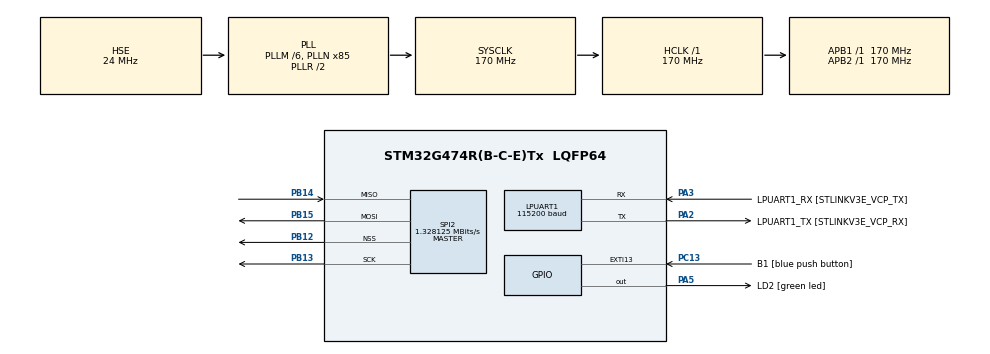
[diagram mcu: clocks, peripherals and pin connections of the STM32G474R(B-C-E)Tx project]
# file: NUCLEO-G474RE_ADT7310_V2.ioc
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Dma.Request0=SPI2_TX
Dma.Request1=SPI2_RX
Dma.SPI2_RX.1.Direction=DMA_PERIPH_TO_MEMORY
Dma.SPI2_RX.1.EventEnable=DISABLE
Dma.SPI2_RX.1.Instance=DMA1_Channel2
Dma.SPI2_RX.1.MemDataAlignment=DMA_MDATAALIGN_BYTE
Dma.SPI2_RX.1.MemInc=DMA_MINC_ENABLE
Dma.SPI2_RX.1.Mode=DMA_NORMAL
Dma.SPI2_RX.1.PeriphDataAlignment=DMA_PDATAALIGN_BYTE
Dma.SPI2_RX.1.PeriphInc=DMA_PINC_DISABLE
Dma.SPI2_RX.1.Polarity=HAL_DMAMUX_REQ_GEN_RISING
Dma.SPI2_RX.1.Priority=DMA_PRIORITY_LOW
Dma.SPI2_RX.1.RequestNumber=1
Dma.SPI2_RX.1.SignalID=NONE
Dma.SPI2_RX.1.SyncEnable=DISABLE
Dma.SPI2_RX.1.SyncPolarity=HAL_DMAMUX_SYNC_NO_EVENT
Dma.SPI2_RX.1.SyncRequestNumber=1
Dma.SPI2_RX.1.SyncSignalID=NONE
Dma.SPI2_TX.0.Direction=DMA_MEMORY_TO_PERIPH
Dma.SPI2_TX.0.EventEnable=DISABLE
Dma.SPI2_TX.0.Instance=DMA1_Channel1
Dma.SPI2_TX.0.MemDataAlignment=DMA_MDATAALIGN_BYTE
Dma.SPI2_TX.0.MemInc=DMA_MINC_ENABLE
Dma.SPI2_TX.0.Mode=DMA_NORMAL
Dma.SPI2_TX.0.PeriphDataAlignment=DMA_PDATAALIGN_BYTE
Dma.SPI2_TX.0.PeriphInc=DMA_PINC_DISABLE
Dma.SPI2_TX.0.Polarity=HAL_DMAMUX_REQ_GEN_RISING
Dma.SPI2_TX.0.Priority=DMA_PRIORITY_LOW
Dma.SPI2_TX.0.RequestNumber=1
Dma.SPI2_TX.0.SignalID=NONE
Dma.SPI2_TX.0.SyncEnable=DISABLE
Dma.SPI2_TX.0.SyncPolarity=HAL_DMAMUX_SYNC_NO_EVENT
Dma.SPI2_TX.0.SyncRequestNumber=1
Dma.SPI2_TX.0.SyncSignalID=NONE
LPUART1.BaudRate=115200
LPUART1.WordLength=UART_WORDLENGTH_8B
Mcu.Family=STM32G4
Mcu.Name=STM32G474R(B-C-E)Tx
Mcu.Package=LQFP64
NVIC.DMA1_Channel1_IRQn=true\:0\:0\:false\:false\:true\:false\:true\:true
NVIC.DMA1_Channel2_IRQn=true\:0\:0\:false\:false\:true\:false\:true\:true
NVIC.EXTI15_10_IRQn=true\:0\:0\:false\:false\:true\:true\:true\:true
NVIC.PriorityGroup=NVIC_PRIORITYGROUP_4
PA13.GPIO_Label=T_SWDIO
PA13.Mode=Trace_Asynchronous_SW
PA13.Signal=SYS_JTMS-SWDIO
PA14.GPIO_Label=T_SWCLK
PA14.Mode=Trace_Asynchronous_SW
PA14.Signal=SYS_JTCK-SWCLK
PA2.GPIO_Label=LPUART1_TX [STLINKV3E_VCP_RX]
PA2.Mode=Asynchronous
PA2.Signal=LPUART1_TX
PA3.GPIO_Label=LPUART1_RX [STLINKV3E_VCP_TX]
PA3.Mode=Asynchronous
PA3.Signal=LPUART1_RX
PA5.GPIO_Label=LD2 [green led]
PA5.Signal=GPIO_Output
PB12.Mode=NSS_Signal_Hard_Output
PB12.Signal=SPI2_NSS
PB13.GPIO_PuPd=GPIO_NOPULL
PB13.GPIO_Speed=GPIO_SPEED_FREQ_LOW
PB13.Mode=Full_Duplex_Master
PB13.Signal=SPI2_SCK
PB14.GPIO_Speed=GPIO_SPEED_FREQ_LOW
PB14.Mode=Full_Duplex_Master
PB14.Signal=SPI2_MISO
PB15.GPIO_Speed=GPIO_SPEED_FREQ_LOW
PB15.Mode=Full_Duplex_Master
PB15.Signal=SPI2_MOSI
PB3.GPIO_Label=T_SWO
PB3.Mode=Trace_Asynchronous_SW
PB3.Signal=SYS_JTDO-SWO
PC13.GPIO_Label=B1 [blue push button]
PC13.Signal=GPXTI13
PC14-OSC32_IN.Mode=LSE-External-Oscillator
PC14-OSC32_IN.Signal=RCC_OSC32_IN
PC15-OSC32_OUT.Mode=LSE-External-Oscillator
PC15-OSC32_OUT.Signal=RCC_OSC32_OUT
PF0-OSC_IN.Mode=HSE-External-Oscillator
PF0-OSC_IN.Signal=RCC_OSC_IN
PF1-OSC_OUT.Mode=HSE-External-Oscillator
PF1-OSC_OUT.Signal=RCC_OSC_OUT
ProjectManager.HeapSize=0x200
ProjectManager.StackSize=0x400
ProjectManager.TargetToolchain=STM32CubeIDE
RCC.ADC12Freq_Value=170000000
RCC.ADC345Freq_Value=170000000
RCC.AHBFreq_Value=170000000
RCC.APB1Freq_Value=170000000
RCC.APB1TimFreq_Value=170000000
RCC.APB2Freq_Value=170000000
RCC.APB2TimFreq_Value=170000000
RCC.CortexFreq_Value=170000000
RCC.EXTERNAL_CLOCK_VALUE=12288000
RCC.HCLKFreq_Value=170000000
RCC.HSE_VALUE=24000000
RCC.HSI48_VALUE=48000000
RCC.HSI_VALUE=16000000
RCC.PLLM=RCC_PLLM_DIV6
RCC.PLLN=85
RCC.PLLSourceVirtual=RCC_PLLSOURCE_HSE
RCC.RTCClockSelection=RCC_RTCCLKSOURCE_LSE
RCC.SYSCLKFreq_VALUE=170000000
RCC.SYSCLKSource=RCC_SYSCLKSOURCE_PLLCLK
RCC.USBFreq_Value=170000000
RCC.VCOOutputFreq_Value=340000000
SPI2.BaudRatePrescaler=SPI_BAUDRATEPRESCALER_128
SPI2.CLKPhase=SPI_PHASE_2EDGE
SPI2.CLKPolarity=SPI_POLARITY_HIGH
SPI2.CalculateBaudRate=1.328125 MBits/s
SPI2.DataSize=SPI_DATASIZE_8BIT
SPI2.Direction=SPI_DIRECTION_2LINES
SPI2.Mode=SPI_MODE_MASTER
SPI2.TIMode=SPI_TIMODE_DISABLE
SPI2.VirtualNSS=VM_NSSHARD
SPI2.VirtualType=VM_MASTER
VP_SYS_VS_DBSignals.Mode=DisableDeadBatterySignals
board=NUCLEO-G474RE

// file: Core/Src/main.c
/* USER CODE BEGIN Header */
/**
 ******************************************************************************
 * @file           : main.c
 * @brief          : Main program body
 ******************************************************************************
 * @attention
 *
 * Copyright (c) 2024 STMicroelectronics.
 * All rights reserved.
 *
 * This software is licensed under terms that can be found in the LICENSE file
 * in the root directory of this software component.
 * If no LICENSE file comes with this software, it is provided AS-IS.
 *
 ******************************************************************************
 */
/* USER CODE END Header */
#include "main.h"

/* USER CODE BEGIN Includes */

#include "VT_ADT7310.h"
#include <stdio.h>

/* USER CODE END Includes */

UART_HandleTypeDef hlpuart1;

SPI_HandleTypeDef hspi2;
DMA_HandleTypeDef hdma_spi2_tx;
DMA_HandleTypeDef hdma_spi2_rx;

/* USER CODE BEGIN PV */

uint8_t SPI_TXRX_stat = 0;

/* USER CODE END PV */

void SystemClock_Config(void);
static void MX_GPIO_Init(void);
static void MX_DMA_Init(void);
static void MX_LPUART1_UART_Init(void);
static void MX_SPI2_Init(void);
/* USER CODE BEGIN PFP */

void VT_Reset_ADT7310(void);
void VT_Print_Read_ADT7310_address(uint8_t ADT7310_address);
void VT_Print_Read_ADT7310_TempVal_16bit(void);
void VT_Print_Read_ADT7310_TempVal_8bit(void);
void VT_Print_Write_ADT7310(uint8_t ADT7310_address, uint16_t data);
int VT_Read_ADT7310_address(uint8_t ADT7310_address);
uint16_t Conv_temp_Float_to_Bin(float temperature);
void VT_ADT7310_address_Error(void);

/* USER CODE END PFP */

int main(void)
{

  /* MCU Configuration--------------------------------------------------------*/

  /* Reset of all peripherals, Initializes the Flash interface and the Systick. */
  HAL_Init();

  /* Configure the system clock */
  SystemClock_Config();

  /* Initialize all configured peripherals */
  MX_GPIO_Init();
  MX_DMA_Init();
  MX_LPUART1_UART_Init();
  MX_SPI2_Init();
  /* USER CODE BEGIN 2 */

	printf("====================================\n");
	printf("Starting >> NUCLEO-G474RE_ADT7310_V2 \n");

	VT_Reset_ADT7310();

	VT_Print_Read_ADT7310_address(Status);

	VT_Print_Read_ADT7310_address(Config);

	VT_Print_Read_ADT7310_address(Temp_val);

	VT_Print_Read_ADT7310_address(ID);

	VT_Print_Read_ADT7310_address(TCRIT_setpt);

	VT_Print_Read_ADT7310_address(THYST_setpt);

	VT_Print_Read_ADT7310_address(THIGH_setpt);

	VT_Print_Read_ADT7310_address(TLOW_setpt);

	for(uint8_t cntr = 0; cntr < 3; cntr++)
	{
		HAL_Delay(500);
		VT_Print_Read_ADT7310_address(Temp_val);
	}

	for(uint8_t cntr = 0; cntr < 3; cntr++)
	{
		HAL_Delay(500);
		VT_Print_Read_ADT7310_TempVal_8bit();
	}

	printf("Converting to 16bit Temperature data... \n");
	VT_Print_Write_ADT7310(Config, ADT7310_16bit);

	printf("Read config register if written correctly.. \n");
	VT_Print_Read_ADT7310_address(Config);

	for(uint8_t cntr = 0; cntr < 3; cntr++)
	{
		HAL_Delay(500);
		VT_Print_Read_ADT7310_TempVal_16bit();
	}

	printf("Setting THIGH_setpt to 65degC... \n");
	VT_Print_Write_ADT7310(THIGH_setpt, Conv_temp_Float_to_Bin(65.0));

	printf("Read THIGH_setpt register if written correctly.. \n");
	VT_Print_Read_ADT7310_address(THIGH_setpt);

	printf("Ending   >> NUCLEO-G474RE_ADT7310_V2 \n");
	printf("====================================\n\n");

  /* USER CODE END 2 */

  /* Infinite loop */
  /* USER CODE BEGIN WHILE */
	while (1)
	{
		HAL_GPIO_TogglePin(GPIOA, GPIO_PIN_5);
		HAL_Delay(50);
    /* USER CODE END WHILE */

	}
}

void SystemClock_Config(void)
{
  RCC_OscInitTypeDef RCC_OscInitStruct = {0};
  RCC_ClkInitTypeDef RCC_ClkInitStruct = {0};

  /** Configure the main internal regulator output voltage
  */
  HAL_PWREx_ControlVoltageScaling(PWR_REGULATOR_VOLTAGE_SCALE1_BOOST);

  /** Initializes the RCC Oscillators according to the specified parameters
  * in the RCC_OscInitTypeDef structure.
  */
  RCC_OscInitStruct.OscillatorType = RCC_OSCILLATORTYPE_HSE;
  RCC_OscInitStruct.HSEState = RCC_HSE_ON;
  RCC_OscInitStruct.PLL.PLLState = RCC_PLL_ON;
  RCC_OscInitStruct.PLL.PLLSource = RCC_PLLSOURCE_HSE;
  RCC_OscInitStruct.PLL.PLLM = RCC_PLLM_DIV6;
  RCC_OscInitStruct.PLL.PLLN = 85;
  RCC_OscInitStruct.PLL.PLLP = RCC_PLLP_DIV2;
  RCC_OscInitStruct.PLL.PLLQ = RCC_PLLQ_DIV2;
  RCC_OscInitStruct.PLL.PLLR = RCC_PLLR_DIV2;
  if (HAL_RCC_OscConfig(&RCC_OscInitStruct) != HAL_OK)
  {
    Error_Handler();
  }

  /** Initializes the CPU, AHB and APB buses clocks
  */
  RCC_ClkInitStruct.ClockType = RCC_CLOCKTYPE_HCLK|RCC_CLOCKTYPE_SYSCLK
                              |RCC_CLOCKTYPE_PCLK1|RCC_CLOCKTYPE_PCLK2;
  RCC_ClkInitStruct.SYSCLKSource = RCC_SYSCLKSOURCE_PLLCLK;
  RCC_ClkInitStruct.AHBCLKDivider = RCC_SYSCLK_DIV1;
  RCC_ClkInitStruct.APB1CLKDivider = RCC_HCLK_DIV1;
  RCC_ClkInitStruct.APB2CLKDivider = RCC_HCLK_DIV1;

  if (HAL_RCC_ClockConfig(&RCC_ClkInitStruct, FLASH_LATENCY_4) != HAL_OK)
  {
    Error_Handler();
  }
}

static void MX_LPUART1_UART_Init(void)
{

  hlpuart1.Instance = LPUART1;
  hlpuart1.Init.BaudRate = 115200;
  hlpuart1.Init.WordLength = UART_WORDLENGTH_8B;
  hlpuart1.Init.StopBits = UART_STOPBITS_1;
  hlpuart1.Init.Parity = UART_PARITY_NONE;
  hlpuart1.Init.Mode = UART_MODE_TX_RX;
  hlpuart1.Init.HwFlowCtl = UART_HWCONTROL_NONE;
  hlpuart1.Init.OneBitSampling = UART_ONE_BIT_SAMPLE_DISABLE;
  hlpuart1.Init.ClockPrescaler = UART_PRESCALER_DIV1;
  hlpuart1.AdvancedInit.AdvFeatureInit = UART_ADVFEATURE_NO_INIT;
  if (HAL_UART_Init(&hlpuart1) != HAL_OK)
  {
    Error_Handler();
  }
  if (HAL_UARTEx_SetTxFifoThreshold(&hlpuart1, UART_TXFIFO_THRESHOLD_1_8) != HAL_OK)
  {
    Error_Handler();
  }
  if (HAL_UARTEx_SetRxFifoThreshold(&hlpuart1, UART_RXFIFO_THRESHOLD_1_8) != HAL_OK)
  {
    Error_Handler();
  }
  if (HAL_UARTEx_DisableFifoMode(&hlpuart1) != HAL_OK)
  {
    Error_Handler();
  }

}

static void MX_SPI2_Init(void)
{

  /* SPI2 parameter configuration*/
  hspi2.Instance = SPI2;
  hspi2.Init.Mode = SPI_MODE_MASTER;
  hspi2.Init.Direction = SPI_DIRECTION_2LINES;
  hspi2.Init.DataSize = SPI_DATASIZE_8BIT;
  hspi2.Init.CLKPolarity = SPI_POLARITY_HIGH;
  hspi2.Init.CLKPhase = SPI_PHASE_2EDGE;
  hspi2.Init.NSS = SPI_NSS_HARD_OUTPUT;
  hspi2.Init.BaudRatePrescaler = SPI_BAUDRATEPRESCALER_128;
  hspi2.Init.FirstBit = SPI_FIRSTBIT_MSB;
  hspi2.Init.TIMode = SPI_TIMODE_DISABLE;
  hspi2.Init.CRCCalculation = SPI_CRCCALCULATION_DISABLE;
  hspi2.Init.CRCPolynomial = 7;
  hspi2.Init.CRCLength = SPI_CRC_LENGTH_DATASIZE;
  hspi2.Init.NSSPMode = SPI_NSS_PULSE_DISABLE;
  if (HAL_SPI_Init(&hspi2) != HAL_OK)
  {
    Error_Handler();
  }

}

static void MX_DMA_Init(void)
{

  /* DMA controller clock enable */
  __HAL_RCC_DMAMUX1_CLK_ENABLE();
  __HAL_RCC_DMA1_CLK_ENABLE();

  /* DMA interrupt init */
  /* DMA1_Channel1_IRQn interrupt configuration */
  HAL_NVIC_SetPriority(DMA1_Channel1_IRQn, 0, 0);
  HAL_NVIC_EnableIRQ(DMA1_Channel1_IRQn);
  /* DMA1_Channel2_IRQn interrupt configuration */
  HAL_NVIC_SetPriority(DMA1_Channel2_IRQn, 0, 0);
  HAL_NVIC_EnableIRQ(DMA1_Channel2_IRQn);

}

static void MX_GPIO_Init(void)
{
  GPIO_InitTypeDef GPIO_InitStruct = {0};

  /* GPIO Ports Clock Enable */
  __HAL_RCC_GPIOC_CLK_ENABLE();
  __HAL_RCC_GPIOF_CLK_ENABLE();
  __HAL_RCC_GPIOA_CLK_ENABLE();
  __HAL_RCC_GPIOB_CLK_ENABLE();

  /*Configure GPIO pin Output Level */
  HAL_GPIO_WritePin(LD2_GPIO_Port, LD2_Pin, GPIO_PIN_RESET);

  /*Configure GPIO pin : B1_Pin */
  GPIO_InitStruct.Pin = B1_Pin;
  GPIO_InitStruct.Mode = GPIO_MODE_IT_RISING;
  GPIO_InitStruct.Pull = GPIO_NOPULL;
  HAL_GPIO_Init(B1_GPIO_Port, &GPIO_InitStruct);

  /*Configure GPIO pin : LD2_Pin */
  GPIO_InitStruct.Pin = LD2_Pin;
  GPIO_InitStruct.Mode = GPIO_MODE_OUTPUT_PP;
  GPIO_InitStruct.Pull = GPIO_NOPULL;
  GPIO_InitStruct.Speed = GPIO_SPEED_FREQ_LOW;
  HAL_GPIO_Init(LD2_GPIO_Port, &GPIO_InitStruct);

  /* EXTI interrupt init*/
  HAL_NVIC_SetPriority(EXTI15_10_IRQn, 0, 0);
  HAL_NVIC_EnableIRQ(EXTI15_10_IRQn);

}

/* USER CODE BEGIN 4 */

void VT_Reset_ADT7310(void)
{
	printf("VT_Reset_ADT7310 (Resetting ADT7310.......) \n");
	uint8_t ADT7310_reset[4] = {0xff, 0xff, 0xff, 0xff}, num_data = 4;
	switch (HAL_SPI_Transmit_DMA(&hspi2, ADT7310_reset, num_data))
	{
	case HAL_OK: 	  /* Communication is completed ___________________________________________ */
		break;
	case HAL_TIMEOUT: /* An Error Occur ______________________________________________________ */
		printf("SPI HAL_TIMEOUT \n");
	case HAL_ERROR:   /* Call Timeout Handler */
		printf("SPI HAL_ERROR \n");
		Error_Handler();
		break;
	default:
		break;
	}
	for(int cntr = 0; cntr < 400; cntr++) {}
}

void VT_Print_Read_ADT7310_address(uint8_t ADT7310_address)
{
	SPI_TXRX_stat = 0;
	uint8_t ADT7310_TX[3], ADT7310_RX[3], num_data;
	ADT7310_TX[0] = ADT7310_read + (ADT7310_address << 3);
	if ((ADT7310_address == Status) || (ADT7310_address == Config) || (ADT7310_address == ID) || (ADT7310_address == THYST_setpt))
	{
		num_data = 2;
	}
	else if ((ADT7310_address == Temp_val) || (ADT7310_address == TCRIT_setpt) || (ADT7310_address == THIGH_setpt) || (ADT7310_address == TLOW_setpt))
	{
		num_data = 3;
	}
	else
		VT_ADT7310_address_Error();

	switch (HAL_SPI_TransmitReceive_DMA(&hspi2, ADT7310_TX, ADT7310_RX, num_data))
	{
	case HAL_OK: 	  /* Communication is completed ___________________________________________ */
		break;
	case HAL_TIMEOUT: /* An Error Occur ______________________________________________________ */
		printf("SPI HAL_TIMEOUT \n");
	case HAL_ERROR:   /* Call Timeout Handler */
		printf("SPI HAL_ERROR \n");
		Error_Handler();
		break;
	default:
		break;
	}

	while(!SPI_TXRX_stat){}
	printf("Read  Address = %x | ", ADT7310_address);
	if (num_data == 2)
		printf("ADT7310 data = x%02x \n", ADT7310_RX[1]);
	else
		printf("ADT7310 data = x%04x \n", ((ADT7310_RX[1] << 8) + ADT7310_RX[2]));
}

void VT_Print_Read_ADT7310_TempVal_16bit(void)
{
	SPI_TXRX_stat = 0;
	uint8_t ADT7310_TX[3], ADT7310_RX[3];
	ADT7310_TX[0] = ADT7310_read + (Temp_val << 3);

	switch (HAL_SPI_TransmitReceive_DMA(&hspi2, ADT7310_TX, ADT7310_RX, 3))
	{
	case HAL_OK: 	  /* Communication is completed ___________________________________________ */
		break;
	case HAL_TIMEOUT: /* An Error Occur ______________________________________________________ */
		printf("SPI HAL_TIMEOUT \n");
	case HAL_ERROR:   /* Call Timeout Handler */
		printf("SPI HAL_ERROR \n");
		Error_Handler();
		break;
	default:
		break;
	}

	while(!SPI_TXRX_stat){}
	printf("Read ADT7310 TempVal 16bit = %.07f degC \n", (((ADT7310_RX[1] << 8) + ADT7310_RX[2]) * 0.0078125));
}

void VT_Print_Read_ADT7310_TempVal_8bit(void)
{
	SPI_TXRX_stat = 0;
	uint8_t ADT7310_TX[3], ADT7310_RX[3];
	ADT7310_TX[0] = ADT7310_read + (Temp_val << 3);

	switch (HAL_SPI_TransmitReceive_DMA(&hspi2, ADT7310_TX, ADT7310_RX, 3))
	{
	case HAL_OK: 	  /* Communication is completed ___________________________________________ */
		break;
	case HAL_TIMEOUT: /* An Error Occur ______________________________________________________ */
		printf("SPI HAL_TIMEOUT \n");
	case HAL_ERROR:   /* Call Timeout Handler */
		printf("SPI HAL_ERROR \n");
		Error_Handler();
		break;
	default:
		break;
	}

	while(!SPI_TXRX_stat){}
	printf("Read ADT7310 TempVal 8bit = %.04f degC \n", ((((ADT7310_RX[1] << 8) + ADT7310_RX[2]) >> 3) *  0.0625));
}

void VT_Print_Write_ADT7310(uint8_t ADT7310_address, uint16_t data)
{
	SPI_TXRX_stat = 0;
	uint8_t ADT7310_TX[3], num_data;
	ADT7310_TX[0] = ADT7310_write + (ADT7310_address << 3);
	if ((ADT7310_address == Config) || (ADT7310_address == THYST_setpt))
	{
		num_data = 2;
		ADT7310_TX[1] = data;
	}
	else if ((ADT7310_address == TCRIT_setpt) || (ADT7310_address == THIGH_setpt) || (ADT7310_address == TLOW_setpt))
	{
		num_data = 3;
		ADT7310_TX[1] = data >> 8;
		ADT7310_TX[2] = data;
	}
	else
		VT_ADT7310_address_Error();

	switch (HAL_SPI_Transmit_DMA(&hspi2, ADT7310_TX, num_data))
	{
	case HAL_OK: 	  /* Communication is completed ___________________________________________ */
		break;
	case HAL_TIMEOUT: /* An Error Occur ______________________________________________________ */
		printf("SPI HAL_TIMEOUT \n");
	case HAL_ERROR:   /* Call Timeout Handler */
		printf("SPI HAL_ERROR \n");
		Error_Handler();
		break;
	default:
		break;
	}

	while(!SPI_TXRX_stat){}
	printf("Write Address = %x | ", ADT7310_address);
	if (num_data == 2)
		printf("ADT7310 data = x%02x \n", ADT7310_TX[1]);
	else
		printf("ADT7310 data = x%04x \n", ((ADT7310_TX[1] << 8) + ADT7310_TX[2]));
}

int VT_Read_ADT7310_address(uint8_t ADT7310_address)
{
	SPI_TXRX_stat = 0;
	int data;
	uint8_t ADT7310_TX[3], ADT7310_RX[3], num_data;
	ADT7310_TX[0] = ADT7310_read + (ADT7310_address << 3);
	if ((ADT7310_address == Status) || (ADT7310_address == Config) || (ADT7310_address == ID) || (ADT7310_address == THYST_setpt))
	{
		num_data = 2;
	}
	else if ((ADT7310_address == Temp_val) || (ADT7310_address == TCRIT_setpt) || (ADT7310_address == THIGH_setpt) || (ADT7310_address == TLOW_setpt))
	{
		num_data = 3;
	}
	else
		VT_ADT7310_address_Error();

	switch (HAL_SPI_TransmitReceive_DMA(&hspi2, ADT7310_TX, ADT7310_RX, num_data))
	{
	case HAL_OK: 	  /* Communication is completed ___________________________________________ */
		break;
	case HAL_TIMEOUT: /* An Error Occur ______________________________________________________ */
		printf("SPI HAL_TIMEOUT \n");
	case HAL_ERROR:   /* Call Timeout Handler */
		printf("SPI HAL_ERROR \n");
		Error_Handler();
		break;
	default:
		break;
	}

	while(!SPI_TXRX_stat){}

	if (num_data == 2)
	{
		data = ADT7310_RX[1];
	}
	else // num_data == 3
	{
		data = (ADT7310_RX[2] << 8) + ADT7310_RX[1];
	}

	return data;
}

uint16_t Conv_temp_Float_to_Bin(float temperature)
{
	return (int16_t) (temperature / 0.0078125);
}

void VT_ADT7310_address_Error(void)
{
	printf("ADT7310 address Error, not in the specified address for reading and writing!! \n");
}

void HAL_SPI_TxRxCpltCallback(SPI_HandleTypeDef *hspi)
{
	/* Prevent unused argument(s) compilation warning */
	UNUSED(hspi);

	/* NOTE : This function should not be modified, when the callback is needed,
            the HAL_SPI_RxCpltCallback should be implemented in the user file
	 */

	//	for(int cntr = 0; cntr < num_data; cntr++)
	//	{
	//		printf("ADT7310_RX [%x] = %x \n", cntr, ADT7310_RX[cntr]);
	//	}

	SPI_TXRX_stat = 1;

}

void HAL_SPI_TxCpltCallback(SPI_HandleTypeDef *hspi)
{
	/* Prevent unused argument(s) compilation warning */
	UNUSED(hspi);

	/* NOTE : This function should not be modified, when the callback is needed,
            the HAL_SPI_RxCpltCallback should be implemented in the user file
	 */

	//	for(int cntr = 0; cntr < num_data; cntr++)
	//	{
	//		printf("ADT7310_RX [%x] = %x \n", cntr, ADT7310_RX[cntr]);
	//	}

	SPI_TXRX_stat = 1;

}

/* USER CODE END 4 */

void Error_Handler(void)
{
  /* USER CODE BEGIN Error_Handler_Debug */
	/* User can add his own implementation to report the HAL error return state */
	printf("Error_Handler \n");
	HAL_GPIO_WritePin(GPIOA, GPIO_PIN_5, SET);
	__disable_irq();
	while (1)
	{
	}
  /* USER CODE END Error_Handler_Debug */
}
